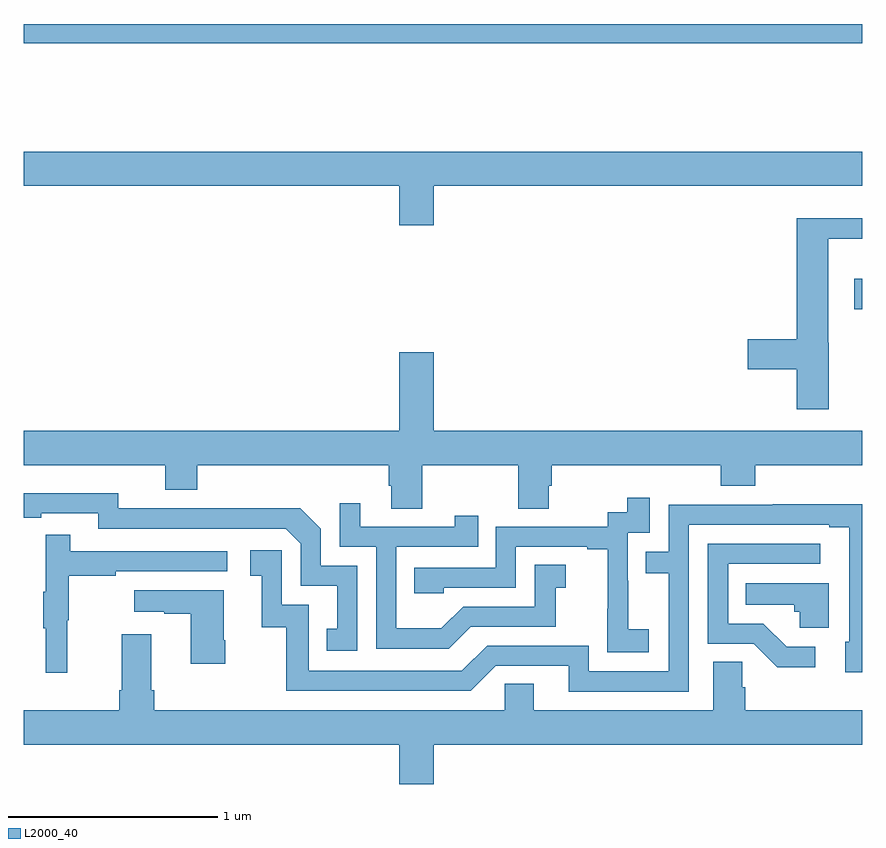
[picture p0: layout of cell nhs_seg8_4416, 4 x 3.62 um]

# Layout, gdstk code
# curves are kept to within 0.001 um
import gdstk
lib = gdstk.Library(unit=1e-6, precision=1e-09)
def R(c, l, rs):  # rectangles x0, y0, x1, y1
    for r in rs: c.add(gdstk.rectangle(r[:2], r[2:], *l))
def P(c, l, *ps):  # polygons
    for p in ps: c.add(gdstk.Polygon(p, *l))
L2000_40 = (2000, 40)

nhs_seg8_4416 = lib.new_cell('nhs_seg8_4416')
R(nhs_seg8_4416, L2000_40, [(382.962,1154.539,383,1154.686), (379,1155.808,383,1155.9)])
P(nhs_seg8_4416, L2000_40, [(380.956,1155.128),(383,1155.128),(383,1155.292),(379,1155.292),(379,1155.128),(380.792,1155.128),(380.792,1154.94),(380.956,1154.94)],
  [(382.84,1154.379),(382.837,1154.379),(382.837,1154.876),(383,1154.876),(383,1154.974),(382.688,1154.974),(382.688,1154.396),(382.452,1154.396),(382.452,1154.254),(382.688,1154.254),(382.688,1154.064),(382.84,1154.064)],
  [(380.901,1153.796),(381.358,1153.796),(381.358,1153.588),(381.505,1153.588),(381.505,1153.698),(381.518,1153.698),(381.518,1153.796),(382.325,1153.796),(382.325,1153.697),(382.49,1153.697),(382.49,1153.796),(383,1153.796),(383,1153.96),(380.956,1153.96),(380.956,1154.335),(380.792,1154.335),(380.792,1153.96),(379,1153.96),(379,1153.796),(379.676,1153.796),(379.676,1153.679),(379.829,1153.679),(379.829,1153.796),(380.741,1153.796),(380.741,1153.698),(380.753,1153.698),(380.753,1153.588),(380.901,1153.588)],
  [(380.592,1153.317),(380.418,1153.317),(380.418,1153.494),(380.32,1153.592),(379.912,1153.592),(379.912,1153.59),(379.452,1153.59),(379.452,1153.663),(379,1153.662),(379,1153.546),(379.084,1153.546),(379.084,1153.566),(379.356,1153.566),(379.356,1153.494),(380.25,1153.494),(380.322,1153.422),(380.322,1153.221),(380.495,1153.221),(380.495,1153.017),(380.446,1153.017),(380.446,1152.912),(380.592,1152.912)],
  [(381.982,1153.015),(381.884,1153.015),(381.884,1153.244),(381.882,1153.244),(381.882,1153.473),(381.987,1153.473),(381.987,1153.642),(381.879,1153.642),(381.879,1153.572),(381.786,1153.572),(381.786,1153.503),(381.252,1153.503),(381.252,1153.308),(380.863,1153.308),(380.863,1153.185),(381.003,1153.185),(381.003,1153.212),(381.348,1153.212),(381.348,1153.407),(381.689,1153.407),(381.689,1153.395),(381.785,1153.395),(381.785,1153.111),(381.784,1153.111),(381.784,1152.905),(381.982,1152.905)],
  [(381.133,1153.026),(381.537,1153.026),(381.537,1153.211),(381.586,1153.211),(381.586,1153.321),(381.438,1153.321),(381.438,1153.122),(381.096,1153.122),(380.992,1153.018),(380.778,1153.018),(380.778,1153.407),(381.167,1153.407),(381.167,1153.555),(381.056,1153.555),(381.056,1153.503),(380.605,1153.503),(380.605,1153.615),(380.508,1153.615),(380.508,1153.407),(380.682,1153.407),(380.682,1152.921),(381.028,1152.921)],
  [(382.173,1153.512),(382.841,1153.512),(382.841,1153.5),(382.938,1153.5),(382.938,1152.954),(382.919,1152.954),(382.919,1152.81),(383,1152.81),(383,1153.61),(382.573,1153.61),(382.573,1153.608),(382.077,1153.608),(382.077,1153.383),(381.967,1153.383),(381.967,1153.282),(382.077,1153.282),(382.077,1152.813),(381.696,1152.813),(381.696,1152.936),(381.21,1152.936),(381.09,1152.816),(380.361,1152.816),(380.361,1153.131),(380.232,1153.131),(380.232,1153.39),(380.082,1153.39),(380.082,1153.269),(380.135,1153.269),(380.135,1153.023),(380.253,1153.023),(380.253,1152.72),(381.132,1152.72),(381.252,1152.84),(381.599,1152.84),(381.599,1152.717),(382.173,1152.717)],
  [(379.208,1153.056),(379.216,1153.056),(379.216,1153.27),(379.439,1153.27),(379.439,1153.29),(379.972,1153.29),(379.972,1153.386),(379.223,1153.386),(379.223,1153.465),(379.106,1153.465),(379.106,1153.193),(379.095,1153.193),(379.095,1153.019),(379.106,1153.019),(379.106,1152.807),(379.208,1152.807)],
  [(382.774,1152.93),(382.639,1152.93),(382.528,1153.041),(382.359,1153.041),(382.359,1153.326),(382.798,1153.326),(382.798,1153.422),(382.263,1153.422),(382.263,1152.945),(382.482,1152.945),(382.595,1152.833),(382.774,1152.833)],
  [(382.84,1153.234),(382.444,1153.234),(382.444,1153.13),(382.675,1153.13),(382.675,1153.098),(382.701,1153.098),(382.701,1153.022),(382.84,1153.022)],
  [(379.962,1152.961),(379.954,1152.961),(379.954,1153.201),(379.527,1153.201),(379.527,1153.097),(379.67,1153.097),(379.67,1153.087),(379.796,1153.087),(379.796,1152.849),(379.962,1152.849)],
  [(380.956,1152.464),(383,1152.464),(383,1152.628),(382.442,1152.628),(382.442,1152.737),(382.428,1152.737),(382.428,1152.86),(382.289,1152.86),(382.289,1152.628),(381.433,1152.628),(381.433,1152.755),(381.294,1152.755),(381.294,1152.628),(379.622,1152.628),(379.622,1152.724),(379.609,1152.724),(379.609,1152.991),(379.469,1152.991),(379.469,1152.724),(379.457,1152.724),(379.457,1152.628),(379,1152.628),(379,1152.464),(380.792,1152.464),(380.792,1152.276),(380.956,1152.276)])

lib.write_gds('nhs_seg8_4416.gds')
